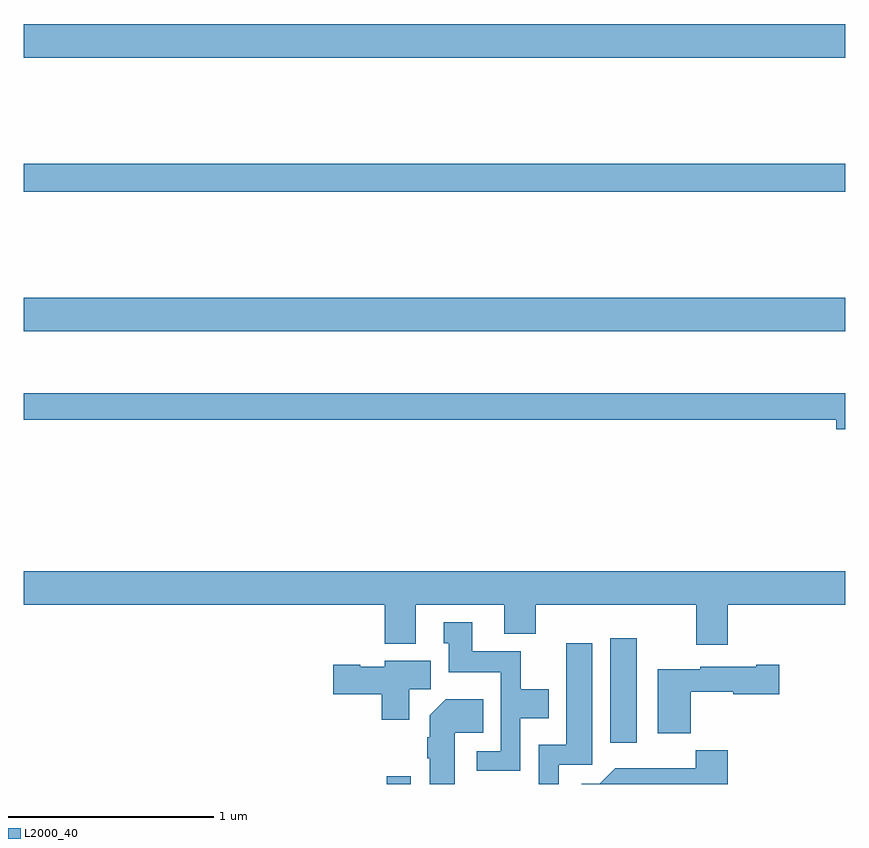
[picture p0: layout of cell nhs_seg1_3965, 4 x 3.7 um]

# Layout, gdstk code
import gdstk
lib = gdstk.Library(unit=1e-6, precision=1e-09)
def R(c, l, rs):  # rectangles x0, y0, x1, y1
    for r in rs: c.add(gdstk.rectangle(r[:2], r[2:], *l))
def P(c, l, *ps):  # polygons
    for p in ps: c.add(gdstk.Polygon(p, *l))
L2000_40 = (2000, 40)

nhs_seg1_3965 = lib.new_cell('nhs_seg1_3965')
R(nhs_seg1_3965, L2000_40, [(328.768,544.199,328.884,544.237), (329.855,544.401,329.986,544.909), (327,546.404,331,546.568), (327,547.084,331,547.22), (327,547.736,331,547.9)])
P(nhs_seg1_3965, L2000_40, [(331,546.103),(327,546.103),(327,545.974),(330.956,545.974),(330.956,545.927),(331,545.927)],
  [(330.428,545.072),(331,545.072),(331,545.236),(327,545.236),(327,545.072),(328.757,545.072),(328.757,544.883),(328.909,544.883),(328.909,545.072),(329.339,545.072),(329.339,544.931),(329.492,544.931),(329.492,545.072),(330.275,545.072),(330.275,544.878),(330.428,544.878)],
  [(329.418,544.52),(329.557,544.52),(329.557,544.66),(329.421,544.66),(329.421,544.846),(329.185,544.846),(329.185,544.987),(329.045,544.987),(329.045,544.884),(329.069,544.884),(329.069,544.742),(329.322,544.742),(329.322,544.359),(329.205,544.359),(329.205,544.263),(329.418,544.263)],
  [(329.604,544.293),(329.767,544.293),(329.767,544.885),(329.642,544.885),(329.642,544.39),(329.508,544.39),(329.508,544.199),(329.604,544.199)],
  [(328.876,544.66),(328.981,544.66),(328.981,544.798),(328.758,544.798),(328.758,544.771),(328.638,544.771),(328.638,544.779),(328.506,544.779),(328.506,544.637),(328.742,544.637),(328.742,544.512),(328.876,544.512)],
  [(330.248,544.649),(330.456,544.649),(330.456,544.637),(330.679,544.637),(330.679,544.779),(330.566,544.779),(330.566,544.771),(330.294,544.771),(330.294,544.759),(330.086,544.759),(330.086,544.445),(330.248,544.445)],
  [(329.098,544.448),(329.237,544.448),(329.237,544.612),(329.054,544.612),(328.976,544.534),(328.976,544.427),(328.964,544.427),(328.964,544.324),(328.976,544.324),(328.976,544.199),(329.098,544.199)],
  [(330.428,544.363),(330.273,544.363),(330.273,544.276),(329.881,544.276),(329.805,544.2),(329.717,544.2),(329.717,544.199),(330.428,544.199)])

lib.write_gds('nhs_seg1_3965.gds')
